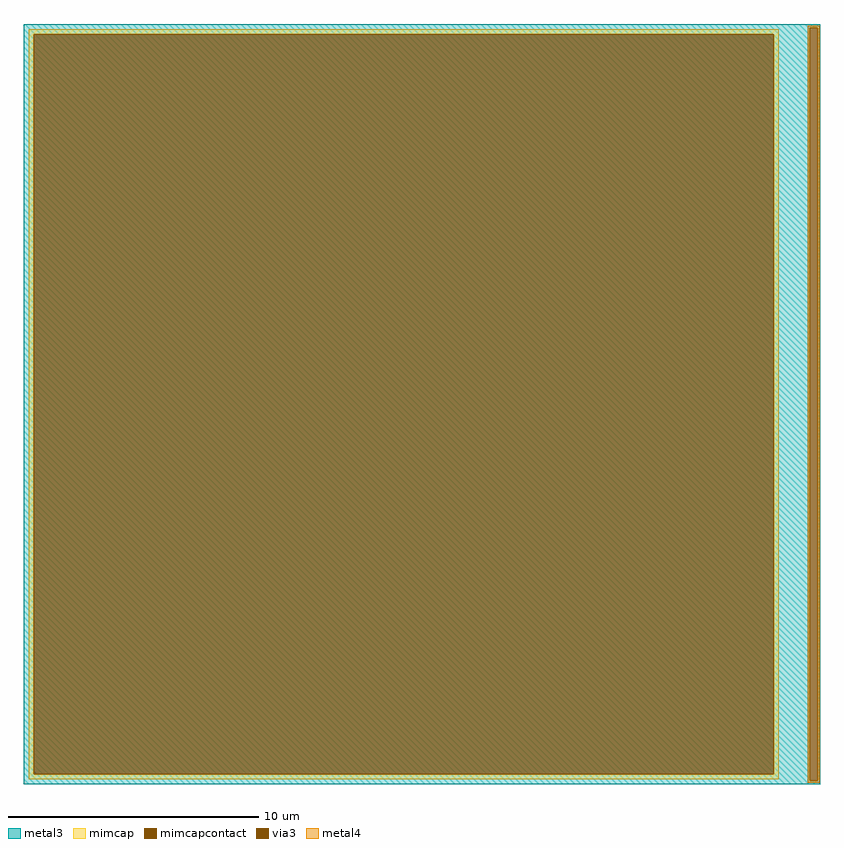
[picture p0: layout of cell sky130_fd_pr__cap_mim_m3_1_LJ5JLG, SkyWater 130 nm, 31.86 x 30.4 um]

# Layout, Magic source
magic
tech sky130A
<< metal3 >>
rect -1593 1506 1593 1520
rect -1593 -1506 1551 1506
rect 1583 -1506 1593 1506
rect -1593 -1520 1593 -1506
<< via3 >>
rect 1551 -1506 1583 1506
<< mimcap >>
rect -1573 1480 1427 1500
rect -1573 -1480 -1553 1480
rect 1407 -1480 1427 1480
rect -1573 -1500 1427 -1480
<< mimcapcontact >>
rect -1553 -1480 1407 1480
<< metal4 >>
rect 1543 1506 1591 1514
rect 1543 -1506 1551 1506
rect 1583 -1506 1591 1506
rect 1543 -1514 1591 -1506
<< properties >>
string FIXED_BBOX -1593 -1520 1447 1520
string gencell sky130_fd_pr__cap_mim_m3_1
string library sky130
string parameters w 30 l 30 val 1.822k carea 2.00 cperi 0.19 nx 1 ny 1 dummy 0 square 0 lmin 2.00 wmin 2.00 lmax 30.0 wmax 30.0 dc 0 bconnect 1 tconnect 1 ccov 100
<< end >>
